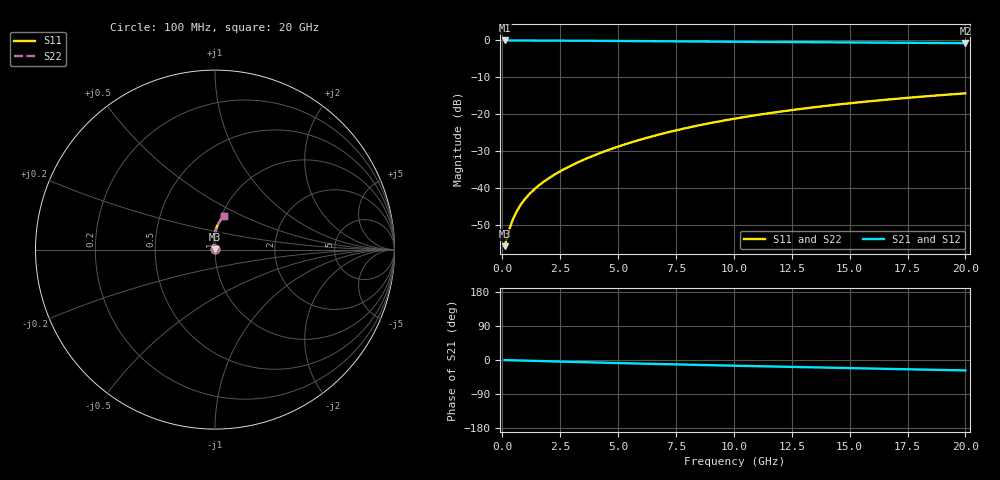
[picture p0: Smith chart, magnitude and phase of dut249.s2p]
! Touchstone file exported from HFSS 2024.1.0
!  File:  C:/UserFiles/LocalFiles/RDL_TSV_Batchsim/temp_RDL_bottom_249_1778701635.aedt
!  Generated:  03:49:29 AM May 14, 2026
!  Design:  RDL_bottom
!  Project:  temp_RDL_bottom_249_1778701635
!  Setup:  Setup1
!  Solution:  Sweep
! Variables:
!  dtsv = 10.80580581um
!  hbump = 3um
!  htsv = 73.65um
!  ldown = 445.93um
!  lrdl = 100um
!  p = 40
!  p1 = 42.92um
!  rhole = 1um
!  t = 450um
!  tdown = 4.91um
!  trdl = 3.915915916um
!  wdown = 27.05um
!  wrdl = 20um
# GHz S MA R 50.000000
! Terminal data exported
! Port[1] = RDL1_T1
! Port[2] = RDL1_T2
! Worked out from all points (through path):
!   200 points, 100 MHz to 20 GHz, reference 50 ohm
!   highest |S21| = -0.01 dB at 100 MHz (marker M1); lowest = -0.7 dB at 20 GHz (marker M2)
!   group delay of S21, straight-line fit = 3.75 ps
!   lowest |S11| = -55.7 dB at 100 MHz (marker M3), VSWR 1.00, Z = 50.1 + j0.0841 ohm
!   |S11| at or under -10 dB: start of sweep to end of sweep
!   |S22| runs from -55.7 to -14.3 dB; largest |S21 - S12| = 7.2e-15
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0.1  0.001638 30.8  0.9986 -0.2  0.9986 -0.2  0.001638 30.8
! Gamma 0 0 0 0
! Port Impedance 50 0 50 0
0.3  0.002737 61.1  0.9982 -0.5  0.9982 -0.5  0.002735 61.1
0.4  0.003378 67.4  0.9981 -0.7  0.9981 -0.7  0.003376 67.4
0.5  0.00403 71.3  0.998 -0.9  0.998 -0.9  0.004028 71.3
0.6  0.004683 73.8  0.9978 -1.0  0.9978 -1.0  0.00468 73.8
0.8  0.005976 77.1  0.9976 -1.4  0.9976 -1.4  0.005973 77.1
1.1  0.007877 80.1  0.9971 -1.9  0.9971 -1.9  0.007875 80.1
1.5  0.01038 83.0  0.9964 -2.5  0.9964 -2.5  0.01038 83.0
1.8  0.01227 84.8  0.9957 -3.0  0.9957 -3.0  0.01227 84.8
2.1  0.01421 86.5  0.9949 -3.5  0.9949 -3.5  0.01421 86.5
2.7  0.01826 89.2  0.993 -4.5  0.993 -4.5  0.01826 89.2
3.5  0.02412 91.9  0.9899 -5.8  0.9899 -5.8  0.02412 91.9
4.2  0.02968 93.5  0.987 -6.9  0.987 -6.9  0.02968 93.5
5  0.03652 94.5  0.9833 -8.1  0.9833 -8.1  0.03651 94.5
5.9  0.04475 94.9  0.9789 -9.4  0.9789 -9.4  0.04475 94.9
6.8  0.05347 94.7  0.9745 -10.7  0.9745 -10.7  0.05347 94.7
8.4  0.06985 93.4  0.9668 -12.9  0.9668 -12.9  0.06984 93.4
10.1  0.08798 91.3  0.9589 -15.1  0.9589 -15.1  0.08797 91.2
11.7  0.1053 88.8  0.9519 -17.2  0.9519 -17.2  0.1053 88.8
13.4  0.1237 86.1  0.9448 -19.4  0.9448 -19.4  0.1237 86.0
16.7  0.1587 80.6  0.9319 -23.5  0.9319 -23.5  0.1587 80.6
20  0.1921 75.4  0.9197 -27.5  0.9197 -27.5  0.1921 75.3
